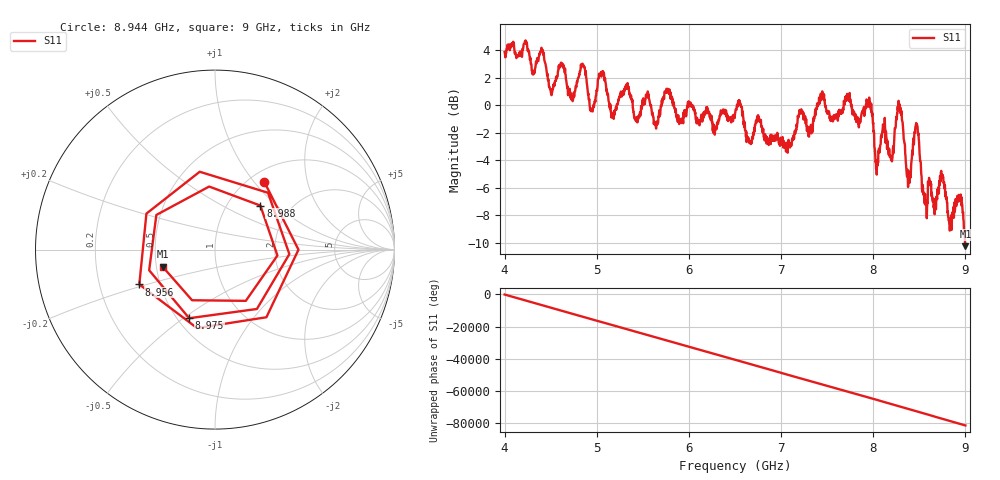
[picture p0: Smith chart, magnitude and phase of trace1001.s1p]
! Created with skrf 1.8.0 (http://scikit-rf.org).
# Hz S RI R 50.0
!freq ReS11 ImS11
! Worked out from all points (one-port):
!   1601 points, 4 GHz to 9 GHz, reference 50 ohm
!   lowest |S11| = -10.3 dB at 9 GHz (marker M1), VSWR 1.89, Z = 27 - j5.65 ohm
!   |S11| at or under -10 dB: 8.996147 GHz to end of sweep
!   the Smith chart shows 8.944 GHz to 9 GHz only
!   S11 on the Smith chart (normalised r, x): 8.944 GHz: 1.17, +1.13; 8.956 GHz: 0.38, -0.19; 8.975 GHz: 0.57, -0.53; 8.988 GHz: 1.42, +0.79; 9 GHz: 0.54, -0.11
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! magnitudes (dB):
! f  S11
! 4 GHz  3.9
! 4.403 GHz  4.0
! 4.506 GHz  1.1
! 4.625 GHz  2.9
! 4.734 GHz  0.4
! 4.85 GHz  3.0
! 4.947 GHz  -0.2
! 5.05 GHz  2.1
! 5.169 GHz  -0.7
! 5.25 GHz  0.6
! 5.875 GHz  -0.8
! 6.5 GHz  -0.6
! 7.125 GHz  -2.5
! 7.444 GHz  0.8
! 7.75 GHz  0.5
! 7.953 GHz  -0.1
! 8.044 GHz  -4.4
! 8.112 GHz  -1.7
! 8.2 GHz  -4.0
! 8.288 GHz  0.1
! 8.375 GHz  -5.2
! 8.469 GHz  -1.3
! 8.566 GHz  -7.2
! 8.944 GHz  -6.6
! 8.956 GHz  -6.7
! 8.975 GHz  -7.8
! 8.988 GHz  -9.1
! 9 GHz  -10.3
